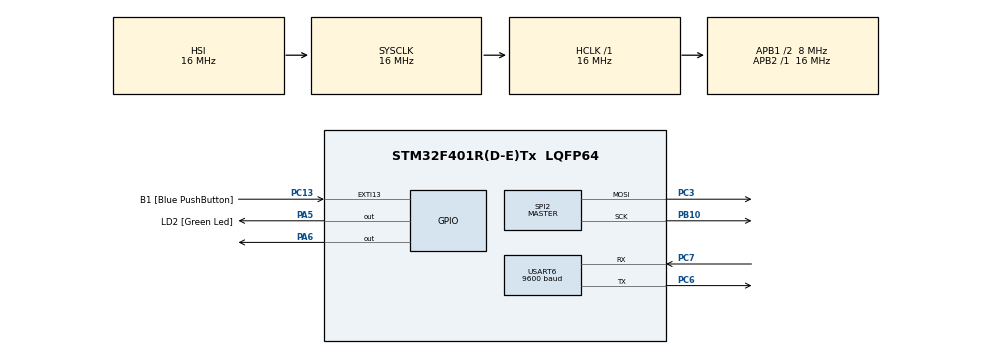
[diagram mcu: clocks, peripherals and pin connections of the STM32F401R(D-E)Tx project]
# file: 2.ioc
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Mcu.Family=STM32F4
Mcu.Name=STM32F401R(D-E)Tx
Mcu.Package=LQFP64
NVIC.PriorityGroup=NVIC_PRIORITYGROUP_0
NVIC.SPI2_IRQn=true\:0\:0\:false\:false\:true\:true\:true\:true
NVIC.USART6_IRQn=true\:0\:0\:false\:false\:true\:true\:true\:true
PA13.GPIO_Label=TMS
PA13.Mode=Serial_Wire
PA13.Signal=SYS_JTMS-SWDIO
PA14.GPIO_Label=TCK
PA14.Mode=Serial_Wire
PA14.Signal=SYS_JTCK-SWCLK
PA2.GPIO_Label=USART_TX
PA2.GPIO_Mode=GPIO_MODE_AF_PP
PA2.GPIO_PuPd=GPIO_NOPULL
PA2.GPIO_Speed=GPIO_SPEED_FREQ_LOW
PA2.Signal=USART2_TX
PA3.GPIO_Label=USART_RX
PA3.GPIO_Mode=GPIO_MODE_AF_PP
PA3.GPIO_PuPd=GPIO_NOPULL
PA3.GPIO_Speed=GPIO_SPEED_FREQ_LOW
PA3.Signal=USART2_RX
PA5.GPIO_Label=LD2 [Green Led]
PA5.GPIO_Mode=GPIO_MODE_OUTPUT_PP
PA5.GPIO_PuPd=GPIO_NOPULL
PA5.GPIO_Speed=GPIO_SPEED_FREQ_LOW
PA5.Signal=GPIO_Output
PA6.GPIO_PuPd=GPIO_PULLDOWN
PA6.Signal=GPIO_Output
PB10.Mode=TX_Only_Simplex_Unidirect_Master
PB10.Signal=SPI2_SCK
PB3.GPIO_Label=SWO
PB3.Signal=SYS_JTDO-SWO
PC13-ANTI_TAMP.GPIO_Label=B1 [Blue PushButton]
PC13-ANTI_TAMP.GPIO_ModeDefaultEXTI=GPIO_MODE_IT_FALLING
PC13-ANTI_TAMP.GPIO_PuPd=GPIO_NOPULL
PC13-ANTI_TAMP.Signal=GPXTI13
PC14-OSC32_IN.Mode=LSE-External-Oscillator
PC14-OSC32_IN.Signal=RCC_OSC32_IN
PC15-OSC32_OUT.Mode=LSE-External-Oscillator
PC15-OSC32_OUT.Signal=RCC_OSC32_OUT
PC3.Mode=TX_Only_Simplex_Unidirect_Master
PC3.Signal=SPI2_MOSI
PC6.Mode=Asynchronous
PC6.Signal=USART6_TX
PC7.Mode=Asynchronous
PC7.Signal=USART6_RX
PH0\ -\ OSC_IN.Mode=HSE-External-Clock-Source
PH0\ -\ OSC_IN.Signal=RCC_OSC_IN
PH1\ -\ OSC_OUT.Mode=HSE-External-Clock-Source
PH1\ -\ OSC_OUT.Signal=RCC_OSC_OUT
ProjectManager.HeapSize=0x200
ProjectManager.StackSize=0x400
ProjectManager.TargetToolchain=MDK-ARM V5.32
RCC.48MHZClocksFreq_Value=48000000
RCC.AHBFreq_Value=16000000
RCC.APB1CLKDivider=RCC_HCLK_DIV2
RCC.APB1Freq_Value=8000000
RCC.APB1TimFreq_Value=16000000
RCC.APB2Freq_Value=16000000
RCC.APB2TimFreq_Value=16000000
RCC.CortexFreq_Value=16000000
RCC.HCLKFreq_Value=16000000
RCC.HSE_VALUE=8000000
RCC.HSI_VALUE=16000000
RCC.PLLN=336
RCC.PLLP=RCC_PLLP_DIV4
RCC.PLLQ=7
RCC.SYSCLKFreq_VALUE=16000000
RCC.VCOOutputFreq_Value=336000000
SPI2.Direction=SPI_DIRECTION_2LINES
SPI2.Mode=SPI_MODE_MASTER
SPI2.VirtualType=VM_MASTER
TIM3.Period=99
TIM3.Prescaler=15999
USART6.BaudRate=9600
USART6.VirtualMode=VM_ASYNC
VP_TIM3_VS_ClockSourceINT.Mode=Internal
board=NUCLEO-F401RE

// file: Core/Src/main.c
/* USER CODE BEGIN Header */
/**
  ******************************************************************************
  * @file           : main.c
  * @brief          : Main program body
  ******************************************************************************
  * @attention
  *
  * Copyright (c) 2022 STMicroelectronics.
  * All rights reserved.
  *
  * This software is licensed under terms that can be found in the LICENSE file
  * in the root directory of this software component.
  * If no LICENSE file comes with this software, it is provided AS-IS.
  *
  ******************************************************************************
  */
/* USER CODE END Header */
#include "main.h"

/* USER CODE BEGIN PTD */
	float voltage;
/* USER CODE END PTD */

SPI_HandleTypeDef hspi2;

TIM_HandleTypeDef htim3;

UART_HandleTypeDef huart6;

/* USER CODE BEGIN PV */
char rx_buffer[4];
/* USER CODE END PV */

void SystemClock_Config(void);
static void MX_GPIO_Init(void);
static void MX_TIM3_Init(void);
static void MX_USART6_UART_Init(void);
static void MX_SPI2_Init(void);

/* USER CODE BEGIN 0 */
void transmit(uint8_t add,uint8_t data){
	uint8_t tx_buffer[0];
	HAL_GPIO_WritePin(GPIOA,GPIO_PIN_6,0);
	tx_buffer[0]=add;
	HAL_SPI_Transmit(&hspi2,tx_buffer,1,0xffff);
	tx_buffer[0]=data;
	HAL_SPI_Transmit(&hspi2,tx_buffer,1,0xffff);
	HAL_GPIO_WritePin(GPIOA,GPIO_PIN_6,1);
}

void max7219_init(){
	transmit(0x09,0xff); // ENABLE ENCODER FOR ALL 7SEG
	transmit(0x0A,0x0F); // MAX INTENSITY
	transmit(0x0B,0x03); // SCAN 4 7SEG
	transmit(0x0C,0x01); // TURN ON
	transmit(0x0f,0x0); // NORMAL OPERATION
}

void HAL_UART_RxCpltCallback(UART_HandleTypeDef *huart){
		transmit(0x01,rx_buffer[0]);
		transmit(0x02,rx_buffer[1]);
		transmit(0x03,rx_buffer[2]);
		transmit(0x04,rx_buffer[3]);
		HAL_UART_Receive_IT(&huart6, rx_buffer, sizeof(rx_buffer));
}
/* USER CODE END 0 */

int main(void)
{

  /* MCU Configuration--------------------------------------------------------*/

  /* Reset of all peripherals, Initializes the Flash interface and the Systick. */
  HAL_Init();

  /* Configure the system clock */
  SystemClock_Config();

  /* Initialize all configured peripherals */
  MX_GPIO_Init();
  MX_TIM3_Init();
  MX_USART6_UART_Init();
  MX_SPI2_Init();
  /* USER CODE BEGIN 2 */
	HAL_Delay(100);
	max7219_init();
  HAL_UART_Receive_IT(&huart6, rx_buffer, sizeof(rx_buffer));

  /* USER CODE END 2 */

  /* Infinite loop */
  while (1)
  {

	}
}

void SystemClock_Config(void)
{
  RCC_OscInitTypeDef RCC_OscInitStruct = {0};
  RCC_ClkInitTypeDef RCC_ClkInitStruct = {0};

  /** Configure the main internal regulator output voltage
  */
  __HAL_RCC_PWR_CLK_ENABLE();
  __HAL_PWR_VOLTAGESCALING_CONFIG(PWR_REGULATOR_VOLTAGE_SCALE2);

  /** Initializes the RCC Oscillators according to the specified parameters
  * in the RCC_OscInitTypeDef structure.
  */
  RCC_OscInitStruct.OscillatorType = RCC_OSCILLATORTYPE_HSI;
  RCC_OscInitStruct.HSIState = RCC_HSI_ON;
  RCC_OscInitStruct.HSICalibrationValue = RCC_HSICALIBRATION_DEFAULT;
  RCC_OscInitStruct.PLL.PLLState = RCC_PLL_NONE;
  if (HAL_RCC_OscConfig(&RCC_OscInitStruct) != HAL_OK)
  {
    Error_Handler();
  }

  /** Initializes the CPU, AHB and APB buses clocks
  */
  RCC_ClkInitStruct.ClockType = RCC_CLOCKTYPE_HCLK|RCC_CLOCKTYPE_SYSCLK
                              |RCC_CLOCKTYPE_PCLK1|RCC_CLOCKTYPE_PCLK2;
  RCC_ClkInitStruct.SYSCLKSource = RCC_SYSCLKSOURCE_HSI;
  RCC_ClkInitStruct.AHBCLKDivider = RCC_SYSCLK_DIV1;
  RCC_ClkInitStruct.APB1CLKDivider = RCC_HCLK_DIV2;
  RCC_ClkInitStruct.APB2CLKDivider = RCC_HCLK_DIV1;

  if (HAL_RCC_ClockConfig(&RCC_ClkInitStruct, FLASH_LATENCY_0) != HAL_OK)
  {
    Error_Handler();
  }
}

static void MX_SPI2_Init(void)
{

  /* SPI2 parameter configuration*/
  hspi2.Instance = SPI2;
  hspi2.Init.Mode = SPI_MODE_MASTER;
  hspi2.Init.Direction = SPI_DIRECTION_2LINES;
  hspi2.Init.DataSize = SPI_DATASIZE_8BIT;
  hspi2.Init.CLKPolarity = SPI_POLARITY_LOW;
  hspi2.Init.CLKPhase = SPI_PHASE_1EDGE;
  hspi2.Init.NSS = SPI_NSS_SOFT;
  hspi2.Init.BaudRatePrescaler = SPI_BAUDRATEPRESCALER_2;
  hspi2.Init.FirstBit = SPI_FIRSTBIT_MSB;
  hspi2.Init.TIMode = SPI_TIMODE_DISABLE;
  hspi2.Init.CRCCalculation = SPI_CRCCALCULATION_DISABLE;
  hspi2.Init.CRCPolynomial = 10;
  if (HAL_SPI_Init(&hspi2) != HAL_OK)
  {
    Error_Handler();
  }

}

static void MX_TIM3_Init(void)
{

  TIM_ClockConfigTypeDef sClockSourceConfig = {0};
  TIM_MasterConfigTypeDef sMasterConfig = {0};

  htim3.Instance = TIM3;
  htim3.Init.Prescaler = 15999;
  htim3.Init.CounterMode = TIM_COUNTERMODE_UP;
  htim3.Init.Period = 99;
  htim3.Init.ClockDivision = TIM_CLOCKDIVISION_DIV1;
  htim3.Init.AutoReloadPreload = TIM_AUTORELOAD_PRELOAD_DISABLE;
  if (HAL_TIM_Base_Init(&htim3) != HAL_OK)
  {
    Error_Handler();
  }
  sClockSourceConfig.ClockSource = TIM_CLOCKSOURCE_INTERNAL;
  if (HAL_TIM_ConfigClockSource(&htim3, &sClockSourceConfig) != HAL_OK)
  {
    Error_Handler();
  }
  sMasterConfig.MasterOutputTrigger = TIM_TRGO_RESET;
  sMasterConfig.MasterSlaveMode = TIM_MASTERSLAVEMODE_DISABLE;
  if (HAL_TIMEx_MasterConfigSynchronization(&htim3, &sMasterConfig) != HAL_OK)
  {
    Error_Handler();
  }

}

static void MX_USART6_UART_Init(void)
{

  huart6.Instance = USART6;
  huart6.Init.BaudRate = 9600;
  huart6.Init.WordLength = UART_WORDLENGTH_8B;
  huart6.Init.StopBits = UART_STOPBITS_1;
  huart6.Init.Parity = UART_PARITY_NONE;
  huart6.Init.Mode = UART_MODE_TX_RX;
  huart6.Init.HwFlowCtl = UART_HWCONTROL_NONE;
  huart6.Init.OverSampling = UART_OVERSAMPLING_16;
  if (HAL_UART_Init(&huart6) != HAL_OK)
  {
    Error_Handler();
  }

}

static void MX_GPIO_Init(void)
{
  GPIO_InitTypeDef GPIO_InitStruct = {0};

  /* GPIO Ports Clock Enable */
  __HAL_RCC_GPIOC_CLK_ENABLE();
  __HAL_RCC_GPIOH_CLK_ENABLE();
  __HAL_RCC_GPIOA_CLK_ENABLE();
  __HAL_RCC_GPIOB_CLK_ENABLE();

  /*Configure GPIO pin Output Level */
  HAL_GPIO_WritePin(GPIOA, LD2_Pin|GPIO_PIN_6, GPIO_PIN_RESET);

  /*Configure GPIO pin : B1_Pin */
  GPIO_InitStruct.Pin = B1_Pin;
  GPIO_InitStruct.Mode = GPIO_MODE_IT_FALLING;
  GPIO_InitStruct.Pull = GPIO_NOPULL;
  HAL_GPIO_Init(B1_GPIO_Port, &GPIO_InitStruct);

  /*Configure GPIO pins : USART_TX_Pin USART_RX_Pin */
  GPIO_InitStruct.Pin = USART_TX_Pin|USART_RX_Pin;
  GPIO_InitStruct.Mode = GPIO_MODE_AF_PP;
  GPIO_InitStruct.Pull = GPIO_NOPULL;
  GPIO_InitStruct.Speed = GPIO_SPEED_FREQ_LOW;
  GPIO_InitStruct.Alternate = GPIO_AF7_USART2;
  HAL_GPIO_Init(GPIOA, &GPIO_InitStruct);

  /*Configure GPIO pin : LD2_Pin */
  GPIO_InitStruct.Pin = LD2_Pin;
  GPIO_InitStruct.Mode = GPIO_MODE_OUTPUT_PP;
  GPIO_InitStruct.Pull = GPIO_NOPULL;
  GPIO_InitStruct.Speed = GPIO_SPEED_FREQ_LOW;
  HAL_GPIO_Init(LD2_GPIO_Port, &GPIO_InitStruct);

  /*Configure GPIO pin : PA6 */
  GPIO_InitStruct.Pin = GPIO_PIN_6;
  GPIO_InitStruct.Mode = GPIO_MODE_OUTPUT_PP;
  GPIO_InitStruct.Pull = GPIO_PULLDOWN;
  GPIO_InitStruct.Speed = GPIO_SPEED_FREQ_LOW;
  HAL_GPIO_Init(GPIOA, &GPIO_InitStruct);

}

void Error_Handler(void)
{
  __disable_irq();
  while (1)
  {
  }
}
